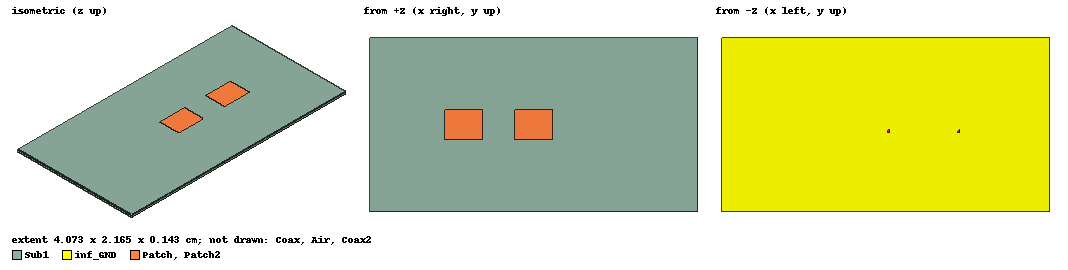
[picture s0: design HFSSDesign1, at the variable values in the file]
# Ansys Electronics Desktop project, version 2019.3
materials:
  vacuum: permittivity=1
  Rogers RT/duroid 5880 (tm): permittivity=2.2 dielectric_loss_tangent=0.0009
  pec: conductivity=1e+30
  Rogers RO4003 (tm): permittivity=3.55 dielectric_loss_tangent=0.0027

design HFSSDesign1 (HFSS, DrivenTerminal, model units cm)
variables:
  Lp = 4.73mm
  Wp = 3.65mm
  hs = 0.43mm
  Ws = (18+3.65) mm
  Ls = (36+4.73) mm
  xsub = (-36/2) mm
  ysub = (-18/2) mm
  xfeed = 2mm
  dp = 8.7125mm
  rcoax = 0.16mm
  hcoax = 1mm
  rprope = 0.07mm
  Lair = (70+40.73) mm
  Wair = (60+21.65) mm
  xair = (-70/2) mm
  yair = (-60/2) mm
  hair = 13.2mm
  yfeed = 1mm
  xp = 0mm
  yp = 0mm
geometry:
  Sub1 [Rogers RO4003 (tm)] = box(corner=(xsub, ysub, 0mm), size=(Ls, Ws, hs))
  inf_GND [Rogers RT/duroid 5880 (tm)] = rectangle(corner=(xsub, ysub, 0mm), x_size=Ls, y_size=Ws)
  Cut_Out = circle(normal=Z, centre=(xp+xfeed, yp+yfeed, 0mm), radius=rcoax)
  inf_GND.subtract(Cut_Out)
  Patch [Rogers RT/duroid 5880 (tm)] = rectangle(corner=(xp, yp, hs), x_size=Lp, y_size=Wp)
  Coax [vacuum] = cylinder(axis=Z, base_centre=(xp+xfeed, yp+yfeed, 0mm), radius=rcoax, height=-hcoax)
  Coax_Pin [pec] = cylinder(axis=Z, base_centre=(xp+xfeed, yp+yfeed, 0mm), radius=rprope, height=-hcoax)
  Port1 [pec] = circle(normal=Z, centre=(xp+xfeed, yp+yfeed, -hcoax), radius=rcoax)
  Prope [pec] = cylinder(axis=Z, base_centre=(xp+xfeed, yp+yfeed, 0mm), radius=rprope, height=hs)
  Air [vacuum] = box(corner=(xair, yair, 0mm), size=(Lair, Wair, hair))
  Cut_Out2 = circle(normal=Z, centre=(xp+xfeed-dp, yp+yfeed, 0mm), radius=rcoax)
  inf_GND.subtract(Cut_Out2)
  Patch2 = rectangle(corner=(xp-dp, yp, hs), x_size=Lp, y_size=Wp)
  Coax2 [vacuum] = cylinder(axis=Z, base_centre=(xp+xfeed-dp, yp+yfeed, 0mm), radius=rcoax, height=-hcoax)
  Coax_Pin2 [pec] = cylinder(axis=Z, base_centre=(xp+xfeed-dp, yp+yfeed, 0mm), radius=rprope, height=-hcoax)
  Port2 [pec] = circle(normal=Z, centre=(xp+xfeed-dp, yp+yfeed, -hcoax), radius=rcoax)
  Prope2 [pec] = cylinder(axis=Z, base_centre=(xp+xfeed -dp, yp+yfeed, 0mm), radius=rprope, height=hs)
  group Input_feed1 = Coax, Coax_Pin, Port1, Prope
  group Input_feed2 = Coax2, Coax_Pin2, Port2, Prope2
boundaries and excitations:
  PerfE_inf_GND: Perfect E Objects=inf_GND
  PerfE_Patch: Perfect E Objects=Patch
  Rad1: Radiation Faces=Air.face(+x, +y, -y, -x, +z)
  PerfE1: Perfect E Objects=Patch2
  Coax_Pin_T1: Terminal port=1 Faces=Coax_Pin.face(2 of 3) TerminalResistance=50ohm
  Coax_Pin2_T1: Terminal port=2 Faces=Coax_Pin2.face(2 of 3) TerminalResistance=50ohm
  1: Wave Port Faces=Port1.face NumModes=1
  2: Wave Port Faces=Port2.face NumModes=1
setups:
  Setup1: HfssDriven Frequency=20GHz MaxDeltaS=0.02 MaximumPasses=20 MinimumPasses=1 MinimumConvergedPasses=1 PercentRefinement=30 BasisOrder=1 PortAccuracy=2
    sweep Sweep: 17GHz to 23GHz, 201 points; Type=Fast SaveFields
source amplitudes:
  1:1: 1V 0deg
  2:1: 0V 0deg
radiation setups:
  Infinite Sphere1: Infinite Sphere Theta=-180deg..180deg step 2deg Phi=0deg..90deg step 90deg
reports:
  Terminal S Parameter Plot 2:
  Terminal S Parameter Plot 3: dB(St(Coax_Pin_T1,Coax_Pin_T1)) vs Freq on Setup1 : Sweep; markers MX1 at x=2.0023474e+10
  Terminal S Parameter Plot 4: dB(St(Coax_Pin2_T1,Coax_Pin_T1)) vs Freq on Setup1 : Sweep; markers MX1 at x=2.0004431e+10
  Terminal S Parameter Plot 5: dB(St(Coax_Pin_T1,Coax_Pin2_T1)) vs Freq on Setup1 : Sweep
  Terminal S Parameter Plot 6: dB(St(Coax_Pin2_T1,Coax_Pin2_T1)) vs Freq on Setup1 : Sweep; markers MX1 at x=2.0024351e+10
  Terminal Z Parameter Plot 1: dB20(Zt(Coax_Pin_T1,Coax_Pin_T1)) vs Freq on Setup1 : Sweep; markers MX1 at x=1.9990683e+10
  Terminal Z Parameter Plot 2: dB20(Zt(Coax_Pin2_T1,Coax_Pin_T1)) vs Freq on Setup1 : Sweep
  Terminal Z Parameter Plot 3: dB20(Zt(Coax_Pin_T1,Coax_Pin2_T1)) vs Freq on Setup1 : Sweep; markers MX1 at x=2.0008863e+10
  Terminal Z Parameter Plot 4: dB20(Zt(Coax_Pin2_T1,Coax_Pin2_T1)) vs Freq on Setup1 : Sweep; markers MX1 at x=2.0002201e+10
